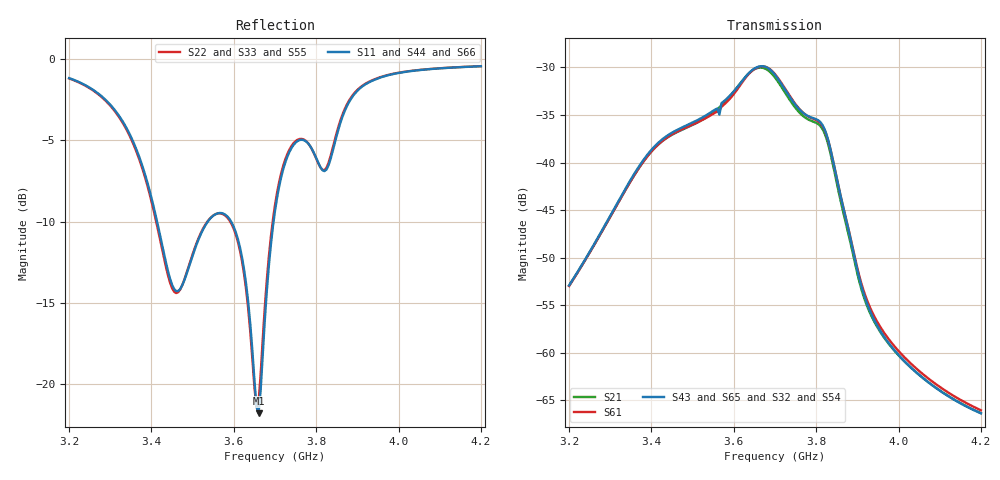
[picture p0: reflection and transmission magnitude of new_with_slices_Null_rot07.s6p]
! Touchstone file exported from HFSS 2024.2.0
!  File:  D:/Jatin/new_with_slices.aedt
!  Generated:  05:20:30 PM Oct  4, 2026
!  Design:  Null_rot07
!  Project:  new_with_slices
!  Setup:  Setup1
!  Solution:  Sweep
! Variables:
!  $L = 85mm
!  $W = 35mm
!  H = 1.575mm
!  L = 42mm
!  W = 35mm
!  Wb = 6mm
!  a = 3.5mm
!  ant_dist = 115mm
!  ant_gap = 3mm
!  b = 5mm
!  c = 5mm
!  d = 2mm
!  e_S1 = 0mm
!  e_S2 = 0mm
!  e_S3 = 0mm
!  e_S4 = 0mm
!  e_S5 = 0mm
!  e_S6 = 0mm
!  g1 = 2mm
!  g2 = 2mm
!  g3 = 1mm
!  g4 = 2mm
!  gap = 10mm
!  r1 = 3.5mm
!  r2 = 6mm
!  r_brain = 95mm
!  r_brain_ad = 61.68mm
!  r_csf = 95.5mm
!  r_csf_expanded = 64.6mm
!  r_csf_inner = 61.68mm
!  r_csf_outer = 83.5mm
!  r_fat = 87.5mm
!  r_gray = 70.55mm
!  r_gray_healthy = 83mm
!  r_grey_healthy = 83mm
!  r_hip = 25mm
!  r_hippo_healthy = 25mm
!  r_skin = 88mm
!  r_skull = 86.5mm
!  r_white = 17.5mm
!  r_white_healthy = 76mm
!  slot_distance = 15mm
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# GHz S MA R 50.000000
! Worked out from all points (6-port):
!   201 points, 3.2 GHz to 4.2 GHz, reference 50 ohm
!   strongest paths, dB at 3.2 GHz, 3.45 GHz, 3.7 GHz, 3.95 GHz, 4.2 GHz:
!     S43: -52.9, -36.9, -30.8, -57.3, -66.4
!     S65: -52.9, -37.0, -30.8, -57.2, -66.4
!     S32: -52.9, -37.0, -30.7, -57.4, -66.4
!     S61: -53.0, -37.0, -30.7, -56.9, -66.0
!     S54: -52.8, -37.0, -30.8, -57.4, -66.3
!     S21: -52.9, -37.1, -31.1, -57.4, -66.3
!   lowest |S11| = -21.8 dB at 3.66 GHz (marker M1), VSWR 1.18, Z = 45 - j5.91 ohm
!   |S11| at or under -10 dB: 3.414 GHz to 3.537 GHz (123.3 MHz wide, 3.55 % of centre); 3.593 GHz to 3.697 GHz (103.2 MHz wide, 2.83 % of centre)
